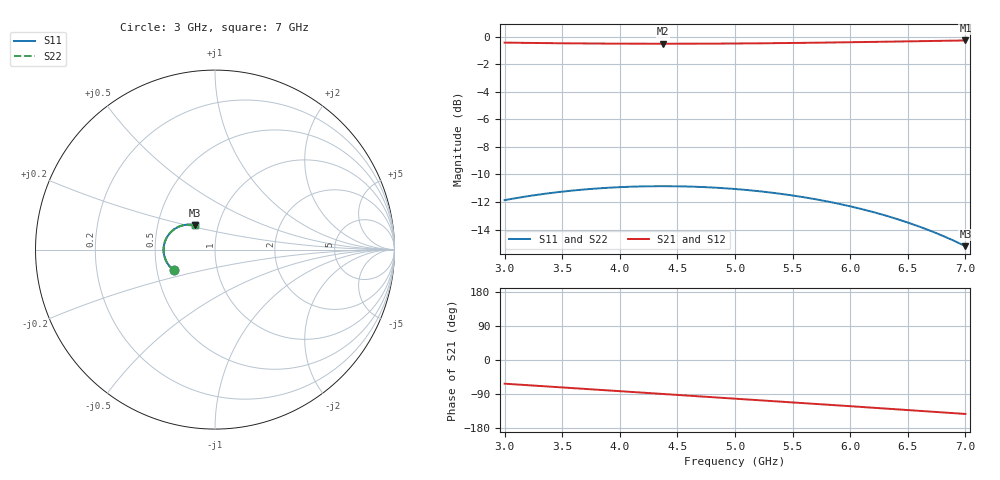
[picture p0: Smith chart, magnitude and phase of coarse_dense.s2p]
! yapnr rf: line-osh-m-w0p70-l10-m-nom, footprint re-simulated (optimization grid)
! spec sha256 b103fcb1d22877655adf9d290e14b2feb167215447c657b3ee50591ba7c9c9d1
! 2 ports renormalized to 50 ohm, e^(+jwt) convention
# GHz S RI R 50
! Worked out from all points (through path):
!   161 points, 3 GHz to 7 GHz, reference 50 ohm
!   highest |S21| = -0.28 dB at 7 GHz (marker M1); lowest = -0.5 dB at 4.375 GHz (marker M2)
!   group delay of S21, straight-line fit = 55.2 ps
!   lowest |S11| = -15.2 dB at 7 GHz (marker M3), VSWR 1.42, Z = 38.8 + j10.8 ohm
!   |S11| at or under -10 dB: start of sweep to end of sweep
!   |S22| runs from -15.2 to -10.9 dB; largest |S21 - S12| = 0
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3  -0.2269 -0.1164  0.4389 -0.8431  0.4389 -0.8431  -0.2269 -0.1164
3.325  -0.2506 -0.0953  0.3398 -0.8839  0.3398 -0.8839  -0.2506 -0.0953
3.5  -0.2612 -0.082  0.2852 -0.9013  0.2852 -0.9013  -0.2612 -0.082
3.675  -0.2701 -0.0675  0.23 -0.9156  0.23 -0.9156  -0.2701 -0.0675
4  -0.2817 -0.0383  0.1263 -0.9339  0.1263 -0.9339  -0.2817 -0.0383
4.175  -0.2851 -0.0217  0.07 -0.9393  0.07 -0.9393  -0.2851 -0.0217
4.35  -0.2865 -0.00487  0.0135 -0.9416  0.0135 -0.9416  -0.2865 -0.00487
4.375  -0.2866 -0.00246  0.00546 -0.9416  0.00546 -0.9416  -0.2866 -0.00246
4.7  -0.2833 0.0287  -0.0994 -0.9369  -0.0994 -0.9369  -0.2833 0.0287
5  -0.2742 0.0562  -0.1956 -0.9231  -0.1956 -0.9231  -0.2742 0.0562
5.175  -0.2663 0.0713  -0.2513 -0.9108  -0.2513 -0.9108  -0.2663 0.0713
5.35  -0.2566 0.0853  -0.3064 -0.8953  -0.3064 -0.8953  -0.2566 0.0853
5.525  -0.2453 0.0981  -0.3608 -0.8766  -0.3608 -0.8766  -0.2453 0.0981
5.675  -0.2344 0.1079  -0.4068 -0.858  -0.4068 -0.858  -0.2344 0.1079
5.85  -0.2204 0.1179  -0.4595 -0.8334  -0.4595 -0.8334  -0.2204 0.1179
6.025  -0.2052 0.1261  -0.5111 -0.8055  -0.5111 -0.8055  -0.2052 0.1261
6.175  -0.1914 0.1317  -0.5542 -0.7789  -0.5542 -0.7789  -0.1914 0.1317
6.35  -0.1746 0.1363  -0.603 -0.745  -0.603 -0.745  -0.1746 0.1363
6.525  -0.1572 0.1388  -0.65 -0.7078  -0.65 -0.7078  -0.1572 0.1388
6.7  -0.1396 0.1392  -0.695 -0.6674  -0.695 -0.6674  -0.1396 0.1392
6.85  -0.1246 0.1377  -0.7317 -0.6303  -0.7317 -0.6303  -0.1246 0.1377
7  -0.1097 0.1346  -0.7666 -0.591  -0.7666 -0.591  -0.1097 0.1346
